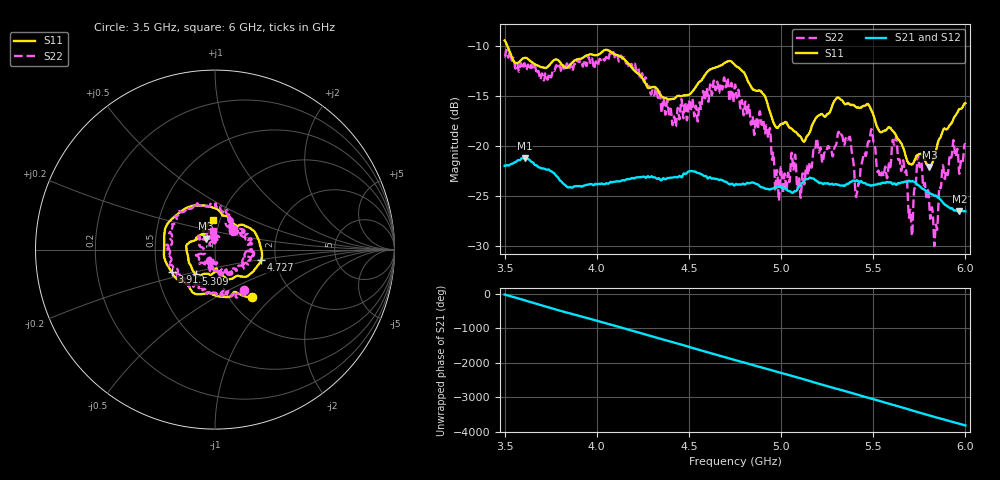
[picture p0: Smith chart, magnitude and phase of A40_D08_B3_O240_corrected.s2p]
! Created with skrf 1.9.0 (http://scikit-rf.org).
# Hz S RI R 50.0
!freq ReS11 ImS11 ReS21 ImS21 ReS12 ImS12 ReS22 ImS22
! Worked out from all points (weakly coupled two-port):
!   1601 points, 3.5 GHz to 6 GHz, reference 50 ohm
!   highest |S21| = -21.20 dB at 3.609 GHz (marker M1); lowest = -26.5 dB at 5.967 GHz (marker M2)
!   lowest |S11| = -22.1 dB at 5.805 GHz (marker M3), VSWR 1.17, Z = 45 + j5.59 ohm
!   |S11| at or under -10 dB: 3.515 GHz to end of sweep
!   |S22| runs from -30.0 to -10.4 dB; largest |S21 - S12| = 0.0011
!   S11 on the Smith chart (normalised r, x): 3.5 GHz: 1.26, -0.76; 3.913 GHz: 0.59, -0.16; 4.727 GHz: 1.68, -0.21; 5.309 GHz: 0.78, -0.22; 6 GHz: 0.93, +0.31
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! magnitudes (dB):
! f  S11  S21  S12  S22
! 3.5 GHz  -9.5  -22.0  -21.9  -11.1
! 3.609 GHz  -11.2  -21.2  -21.2  -11.8
! 3.913 GHz  -11.3  -24.0  -24.0  -11.4
! 3.917 GHz  -11.3  -24.1  -24.0  -11.5
! 4.334 GHz  -14.5  -23.2  -23.2  -15.1
! 4.727 GHz  -11.5  -23.8  -23.7  -14.3
! 4.75 GHz  -11.9  -23.9  -23.8  -13.9
! 4.931 GHz  -16.1  -24.3  -24.3  -19.2
! 4.98 GHz  -18.2  -24.1  -24.1  -22.6
! 5.167 GHz  -18.0  -23.2  -23.2  -22.0
! 5.309 GHz  -15.2  -23.9  -23.8  -18.7
! 5.412 GHz  -16.2  -23.4  -23.4  -24.6
! 5.486 GHz  -16.3  -24.0  -23.9  -18.6
! 5.584 GHz  -18.1  -23.6  -23.6  -21.8
! 5.619 GHz  -18.8  -23.8  -23.8  -19.5
! 5.703 GHz  -21.8  -23.6  -23.5  -26.7
! 5.75 GHz  -20.8  -24.0  -24.0  -22.0
! 5.805 GHz  -22.1  -24.7  -24.7  -26.0
! 5.839 GHz  -20.6  -25.0  -24.9  -28.0
! 5.872 GHz  -18.8  -25.5  -25.5  -23.0
! 5.967 GHz  -16.3  -26.5  -26.5  -22.8
! 6 GHz  -15.7  -26.5  -26.5  -19.8
